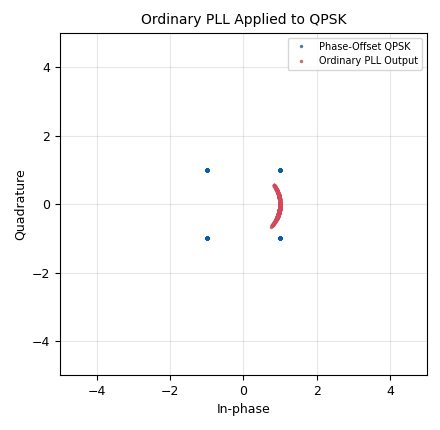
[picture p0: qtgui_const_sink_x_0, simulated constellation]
options:
  parameters:
    generate_options: qt_gui
    id: exp5
    output_language: python
    title: Ordinary PLL Applied to QPSK
  states: {}

blocks:
- name: loop_bw
  id: variable
  parameters:
    value: math.pi/500
  states: {}
- name: phase_offset
  id: variable_qtgui_range
  parameters:
    label: Carrier Phase Offset (deg)
    start: '-180'
    step: '5'
    stop: '180'
    value: '0'
  states: {}
- name: samp_rate
  id: variable
  parameters:
    value: '32000'
  states: {}
- name: analog_pll_refout_cc_0
  id: analog_pll_refout_cc
  parameters:
    max_freq: 2*math.pi*2000/samp_rate
    min_freq: '-2*math.pi*2000/samp_rate'
    w: loop_bw
  states: {}
- name: analog_random_source_x_0
  id: analog_random_source_x
  parameters:
    max: '2'
    min: '0'
    num_samps: '1000'
    repeat: 'True'
    type: byte
  states: {}
- name: analog_random_source_x_0_0
  id: analog_random_source_x
  parameters:
    max: '2'
    min: '0'
    num_samps: '1000'
    repeat: 'True'
    type: byte
  states: {}
- name: blocks_float_to_complex_0
  id: blocks_float_to_complex
  parameters: {}
  states: {}
- name: blocks_multiply_const_vxx_0
  id: blocks_multiply_const_vxx
  parameters:
    const: np.exp(1j*math.radians(phase_offset))
    type: complex
  states: {}
- name: blocks_throttle2_0
  id: blocks_throttle2
  parameters:
    samples_per_second: samp_rate
    type: complex
  states: {}
- name: digital_chunks_to_symbols_xx_0
  id: digital_chunks_to_symbols_xx
  parameters:
    dimension: '1'
    in_type: byte
    out_type: float
    symbol_table: '[-1,1]'
  states: {}
- name: digital_chunks_to_symbols_xx_0_0
  id: digital_chunks_to_symbols_xx
  parameters:
    dimension: '1'
    in_type: byte
    out_type: float
    symbol_table: '[-1,1]'
  states: {}
- name: import_0
  id: import
  parameters:
    imports: import math
  states: {}
- name: import_0_0
  id: import
  parameters:
    imports: import numpy as np
  states: {}
- name: qtgui_const_sink_x_0
  id: qtgui_const_sink_x
  parameters:
    grid: 'True'
    label1: Phase-Offset QPSK
    label2: Ordinary PLL Output
    name: Ordinary PLL Applied to QPSK
    nconnections: '2'
    size: '1024'
    type: complex
    width1: '5'
    width2: '5'
    xmax: '5'
    xmin: '-5'
    ymax: '5'
    ymin: '-5'
  states: {}

connections:
- [analog_pll_refout_cc_0, '0', qtgui_const_sink_x_0, '1']
- [analog_random_source_x_0, '0', digital_chunks_to_symbols_xx_0, '0']
- [analog_random_source_x_0_0, '0', digital_chunks_to_symbols_xx_0_0, '0']
- [blocks_float_to_complex_0, '0', blocks_throttle2_0, '0']
- [blocks_multiply_const_vxx_0, '0', qtgui_const_sink_x_0, '0']
- [blocks_throttle2_0, '0', analog_pll_refout_cc_0, '0']
- [blocks_throttle2_0, '0', blocks_multiply_const_vxx_0, '0']
- [digital_chunks_to_symbols_xx_0, '0', blocks_float_to_complex_0, '0']
- [digital_chunks_to_symbols_xx_0_0, '0', blocks_float_to_complex_0, '1']

metadata:
  file_format: 1
  grc_version: 3.10.12.0
